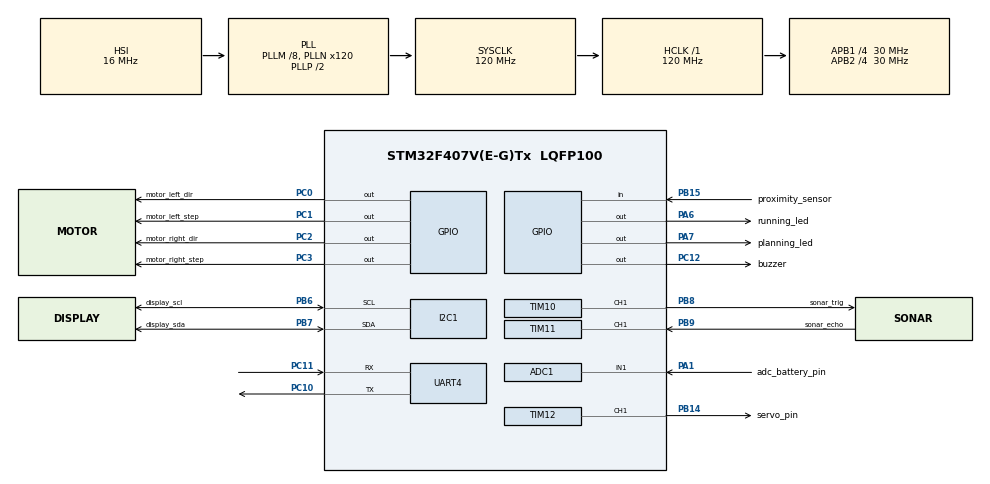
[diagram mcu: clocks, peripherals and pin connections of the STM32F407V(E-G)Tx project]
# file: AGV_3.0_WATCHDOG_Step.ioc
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ADC1.Channel-0\#ChannelRegularConversion=ADC_CHANNEL_1
ADC1.NbrOfConversionFlag=1
ADC1.Rank-0\#ChannelRegularConversion=1
ADC1.SamplingTime-0\#ChannelRegularConversion=ADC_SAMPLETIME_3CYCLES
ADC1.master=1
FREERTOS.BinarySemaphores01=parseCommandSem,Dynamic,NULL
FREERTOS.MEMORY_ALLOCATION=2
FREERTOS.Tasks01=mainTask,0,128,StartMainTask,Default,NULL,Dynamic,NULL,NULL;parseCommand,-1,128,StartParseCommand,Default,NULL,Dynamic,NULL,NULL;checkSafety,0,128,StartCheckSafety,Default,NULL,Dynamic,NULL,NULL;checkBattery,-1,128,StartCheckbattery,Default,NULL,Dynamic,NULL,NULL
Mcu.Family=STM32F4
Mcu.Name=STM32F407V(E-G)Tx
Mcu.Package=LQFP100
NVIC.PriorityGroup=NVIC_PRIORITYGROUP_4
NVIC.TIM1_TRG_COM_TIM11_IRQn=true\:5\:0\:false\:false\:true\:true\:true\:true
NVIC.TIM8_TRG_COM_TIM14_IRQn=true\:15\:0\:false\:false\:true\:false\:false\:true
NVIC.TimeBase=TIM8_TRG_COM_TIM14_IRQn
NVIC.TimeBaseIP=TIM14
NVIC.UART4_IRQn=true\:5\:0\:false\:false\:true\:true\:true\:true
PA1.GPIO_Label=adc_battery_pin
PA1.GPIO_PuPd=GPIO_NOPULL
PA1.Signal=ADCx_IN1
PA13.Mode=Serial_Wire
PA13.Signal=SYS_JTMS-SWDIO
PA14.Mode=Serial_Wire
PA14.Signal=SYS_JTCK-SWCLK
PA6.GPIO_Label=running_led
PA6.GPIO_PuPd=GPIO_PULLDOWN
PA6.Signal=GPIO_Output
PA7.GPIO_Label=planning_led
PA7.GPIO_PuPd=GPIO_PULLDOWN
PA7.Signal=GPIO_Output
PB14.GPIO_Label=servo_pin
PB14.GPIO_PuPd=GPIO_PULLDOWN
PB14.GPIO_Speed=GPIO_SPEED_FREQ_MEDIUM
PB14.Signal=S_TIM12_CH1
PB15.GPIO_Label=proximity_sensor
PB15.GPIO_PuPd=GPIO_PULLDOWN
PB15.Signal=GPIO_Input
PB6.GPIO_Label=display_scl
PB6.GPIO_Pu=GPIO_PULLUP
PB6.Mode=I2C
PB6.Signal=I2C1_SCL
PB7.GPIO_Label=display_sda
PB7.GPIO_Pu=GPIO_PULLUP
PB7.Mode=I2C
PB7.Signal=I2C1_SDA
PB8.GPIO_Label=sonar_trig
PB8.GPIO_PuPd=GPIO_PULLDOWN
PB8.GPIO_Speed=GPIO_SPEED_FREQ_HIGH
PB8.Signal=S_TIM10_CH1
PB9.GPIO_Label=sonar_echo
PB9.GPIO_PuPd=GPIO_PULLDOWN
PB9.GPIO_Speed=GPIO_SPEED_FREQ_HIGH
PB9.Signal=S_TIM11_CH1
PC0.GPIO_Label=motor_left_dir
PC0.GPIO_PuPd=GPIO_PULLDOWN
PC0.GPIO_Speed=GPIO_SPEED_FREQ_MEDIUM
PC0.Signal=GPIO_Output
PC1.GPIO_Label=motor_left_step
PC1.GPIO_PuPd=GPIO_PULLDOWN
PC1.GPIO_Speed=GPIO_SPEED_FREQ_VERY_HIGH
PC1.Signal=GPIO_Output
PC10.GPIO_PuPd=GPIO_NOPULL
PC10.Mode=Asynchronous
PC10.Signal=UART4_TX
PC11.GPIO_PuPd=GPIO_NOPULL
PC11.Mode=Asynchronous
PC11.Signal=UART4_RX
PC12.GPIO_Label=buzzer
PC12.GPIO_PuPd=GPIO_PULLDOWN
PC12.Signal=GPIO_Output
PC2.GPIO_Label=motor_right_dir
PC2.GPIO_PuPd=GPIO_PULLDOWN
PC2.GPIO_Speed=GPIO_SPEED_FREQ_MEDIUM
PC2.Signal=GPIO_Output
PC3.GPIO_Label=motor_right_step
PC3.GPIO_PuPd=GPIO_PULLDOWN
PC3.GPIO_Speed=GPIO_SPEED_FREQ_VERY_HIGH
PC3.Signal=GPIO_Output
PH0-OSC_IN.Mode=HSE-External-Oscillator
PH0-OSC_IN.Signal=RCC_OSC_IN
PH1-OSC_OUT.Mode=HSE-External-Oscillator
PH1-OSC_OUT.Signal=RCC_OSC_OUT
ProjectManager.HeapSize=0x200
ProjectManager.StackSize=0x400
ProjectManager.TargetToolchain=STM32CubeIDE
RCC.48MHZClocksFreq_Value=60000000
RCC.AHBFreq_Value=120000000
RCC.APB1CLKDivider=RCC_HCLK_DIV4
RCC.APB1Freq_Value=30000000
RCC.APB1TimFreq_Value=60000000
RCC.APB2CLKDivider=RCC_HCLK_DIV4
RCC.APB2Freq_Value=30000000
RCC.APB2TimFreq_Value=60000000
RCC.CortexFreq_Value=120000000
RCC.HCLKFreq_Value=120000000
RCC.HSE_VALUE=8000000
RCC.HSI_VALUE=16000000
RCC.LSE_VALUE=32768
RCC.PLLM=8
RCC.PLLN=120
RCC.RCC_RTC_Clock_Source=RCC_RTCCLKSOURCE_LSI
RCC.RCC_RTC_Clock_SourceVirtual=RCC_RTCCLKSOURCE_LSI
RCC.SYSCLKFreq_VALUE=120000000
RCC.SYSCLKSource=RCC_SYSCLKSOURCE_PLLCLK
RCC.VCOOutputFreq_Value=240000000
SH.ADCx_IN1.0=ADC1_IN1,IN1
SH.S_TIM10_CH1.0=TIM10_CH1,PWM Generation1 CH1
SH.S_TIM11_CH1.0=TIM11_CH1,Input_Capture1_from_TI1
SH.S_TIM12_CH1.0=TIM12_CH1,PWM Generation1 CH1
TIM10.Channel=TIM_CHANNEL_1
TIM10.Period=60 - 1
TIM10.Prescaler=1 - 1
TIM11.Channel=TIM_CHANNEL_1
TIM11.Period=0xffff - 1
TIM11.Prescaler=60 - 1
TIM12.Channel-PWM\ Generation1\ CH1=TIM_CHANNEL_1
UART4.VirtualMode=Asynchronous
VP_FREERTOS_VS_CMSIS_V1.Mode=CMSIS_V1
VP_IWDG_VS_IWDG.Mode=IWDG_Activate
VP_SYS_VS_tim14.Mode=TIM14
VP_TIM10_VS_ClockSourceINT.Mode=Enable_Timer
VP_TIM11_VS_ClockSourceINT.Mode=Enable_Timer
VP_TIM12_VS_ClockSourceINT.Mode=Internal
board=custom

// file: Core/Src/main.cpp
/* USER CODE BEGIN Header */
/**
  ******************************************************************************
  * @file           : main.c
  * @brief          : Main program body
  ******************************************************************************
  * @attention
  *
  * <h2><center>&copy; Copyright (c) 2021 STMicroelectronics.
  * All rights reserved.</center></h2>
  *
  * This software component is licensed by ST under BSD 3-Clause license,
  * the "License"; You may not use this file except in compliance with the
  * License. You may obtain a copy of the License at:
  *                        opensource.org/licenses/BSD-3-Clause
  *
  ******************************************************************************
  */
/* USER CODE END Header */
#include "main.h"
#include "cmsis_os.h"

/* USER CODE BEGIN Includes */
#include <vector>
#include "parseDataCommand.h"
#include "dataStruct.h"
#include "settings.h"
#include "motorDriver.h"
//#include "servoDriver.h"
/* USER CODE END Includes */

ADC_HandleTypeDef hadc1;

I2C_HandleTypeDef hi2c1;

IWDG_HandleTypeDef hiwdg;

TIM_HandleTypeDef htim10;
TIM_HandleTypeDef htim11;
extern TIM_HandleTypeDef htim12;

UART_HandleTypeDef huart4;

osThreadId mainTaskHandle;
osThreadId parseCommandHandle;
osThreadId checkSafetyHandle;
osThreadId checkBatteryHandle;
osSemaphoreId parseCommandSemHandle;
/* USER CODE BEGIN PV */
std::vector<char> data;
std::vector<DataStruct> parsedData;
int direcmoveDistance = 0;
uint32_t sonarIcVal1 = 0;
uint32_t sonarIcVal2 = 0;
volatile int sonarDistance = 0;
bool sonarFirstCapture = false;
/* USER CODE END PV */

void SystemClock_Config(void);
static void MX_GPIO_Init(void);
static void MX_IWDG_Init(void);
static void MX_TIM10_Init(void);
static void MX_TIM11_Init(void);
static void MX_UART4_Init(void);
static void MX_ADC1_Init(void);
static void MX_I2C1_Init(void);
static void MX_TIM12_Init(void);
void StartMainTask(void const * argument);
void StartParseCommand(void const * argument);
void StartCheckSafety(void const * argument);
void StartCheckbattery(void const * argument);

/* USER CODE BEGIN 0 */
char recievedData[1];
void HAL_UART_RxCpltCallback(UART_HandleTypeDef *huart)
{
	if(huart->Instance == UART4){
		if(recievedData[0] != '\n') {
			data.push_back(recievedData[0]);
		} else {
			osSemaphoreRelease(parseCommandSemHandle);
		}
	}
	HAL_UART_Receive_IT(&huart4, (uint8_t*)recievedData, 1);
}

void checkObstacleSonar() {
	// Start PWM
	HAL_TIM_PWM_Start(&htim10, TIM_CHANNEL_1);
	__HAL_TIM_SET_COMPARE(&htim10, TIM_CHANNEL_1, 30);
	// Reset val
	sonarFirstCapture  = false;
	sonarIcVal1 = 0;
	sonarIcVal2 = 0;
	sonarDistance = 10000;
	// Enable IC IT
	__HAL_TIM_ENABLE_IT(&htim11, TIM_IT_CC1);
	__HAL_TIM_SET_CAPTUREPOLARITY(&htim11, TIM_CHANNEL_1, TIM_INPUTCHANNELPOLARITY_RISING);
}

void HAL_TIM_IC_CaptureCallback(TIM_HandleTypeDef *htim)
{
	if (htim->Channel == HAL_TIM_ACTIVE_CHANNEL_1)  // if the interrupt source is channel1
	{
		if (!sonarFirstCapture) // if the first value is not captured
		{
			sonarIcVal1 = HAL_TIM_ReadCapturedValue(htim, TIM_CHANNEL_1); // read the first value
			sonarFirstCapture = true;  // set the first captured as true
			// Now change the polarity to falling edge
			__HAL_TIM_SET_CAPTUREPOLARITY(htim, TIM_CHANNEL_1, TIM_INPUTCHANNELPOLARITY_FALLING);
		}

		else if (sonarFirstCapture)   // if the first is already captured
		{
			sonarIcVal2 = HAL_TIM_ReadCapturedValue(htim, TIM_CHANNEL_1);  // read second value
			__HAL_TIM_SET_COUNTER(htim, 0);  // reset the counter

			uint32_t Difference = 0;
			if (sonarIcVal2 > sonarIcVal1)
			{
				Difference = sonarIcVal2-sonarIcVal1;
			}

			else if (sonarIcVal1 > sonarIcVal2)
			{
				Difference = (0xffff - sonarIcVal1) + sonarIcVal2;
			}

			// s = v * t = 340 * 1000 * t = (340 * 1000 * difference) / 10^6
			sonarDistance = double(Difference * .034/2);
			sonarFirstCapture = false; // set it back to false

			// set polarity to rising edge
			__HAL_TIM_SET_CAPTUREPOLARITY(htim, TIM_CHANNEL_1, TIM_INPUTCHANNELPOLARITY_RISING);
			__HAL_TIM_DISABLE_IT(&htim11, TIM_IT_CC1);
		}
	}
}
/* USER CODE END 0 */

int main(void)
{

  /* MCU Configuration--------------------------------------------------------*/

  /* Reset of all peripherals, Initializes the Flash interface and the Systick. */
  HAL_Init();

  /* Configure the system clock */
  SystemClock_Config();

  /* Initialize all configured peripherals */
  MX_GPIO_Init();
  MX_IWDG_Init();
  MX_TIM10_Init();
  MX_TIM11_Init();
  MX_UART4_Init();
  MX_ADC1_Init();
  MX_I2C1_Init();
  MX_TIM12_Init();

  /* Create the semaphores(s) */
  /* definition and creation of parseCommandSem */
  osSemaphoreDef(parseCommandSem);
  parseCommandSemHandle = osSemaphoreCreate(osSemaphore(parseCommandSem), 1);

  /* Create the thread(s) */
  /* definition and creation of mainTask */
  osThreadDef(mainTask, StartMainTask, osPriorityNormal, 0, 128);
  mainTaskHandle = osThreadCreate(osThread(mainTask), NULL);

  /* definition and creation of parseCommand */
  osThreadDef(parseCommand, StartParseCommand, osPriorityBelowNormal, 0, 128);
  parseCommandHandle = osThreadCreate(osThread(parseCommand), NULL);

  /* definition and creation of checkSafety */
  osThreadDef(checkSafety, StartCheckSafety, osPriorityNormal, 0, 128);
  checkSafetyHandle = osThreadCreate(osThread(checkSafety), NULL);

  /* definition and creation of checkBattery */
  osThreadDef(checkBattery, StartCheckbattery, osPriorityBelowNormal, 0, 128);
  checkBatteryHandle = osThreadCreate(osThread(checkBattery), NULL);

  /* Start scheduler */
  osKernelStart();

  /* We should never get here as control is now taken by the scheduler */
  /* Infinite loop */
  while (1)
  {

  }
}

void SystemClock_Config(void)
{
  RCC_OscInitTypeDef RCC_OscInitStruct = {0};
  RCC_ClkInitTypeDef RCC_ClkInitStruct = {0};

  /** Configure the main internal regulator output voltage
  */
  __HAL_RCC_PWR_CLK_ENABLE();
  __HAL_PWR_VOLTAGESCALING_CONFIG(PWR_REGULATOR_VOLTAGE_SCALE1);
  /** Initializes the RCC Oscillators according to the specified parameters
  * in the RCC_OscInitTypeDef structure.
  */
  RCC_OscInitStruct.OscillatorType = RCC_OSCILLATORTYPE_HSI|RCC_OSCILLATORTYPE_LSI
                              |RCC_OSCILLATORTYPE_HSE;
  RCC_OscInitStruct.HSEState = RCC_HSE_ON;
  RCC_OscInitStruct.HSIState = RCC_HSI_ON;
  RCC_OscInitStruct.HSICalibrationValue = RCC_HSICALIBRATION_DEFAULT;
  RCC_OscInitStruct.LSIState = RCC_LSI_ON;
  RCC_OscInitStruct.PLL.PLLState = RCC_PLL_ON;
  RCC_OscInitStruct.PLL.PLLSource = RCC_PLLSOURCE_HSI;
  RCC_OscInitStruct.PLL.PLLM = 8;
  RCC_OscInitStruct.PLL.PLLN = 120;
  RCC_OscInitStruct.PLL.PLLP = RCC_PLLP_DIV2;
  RCC_OscInitStruct.PLL.PLLQ = 4;
  if (HAL_RCC_OscConfig(&RCC_OscInitStruct) != HAL_OK)
  {
    Error_Handler();
  }
  /** Initializes the CPU, AHB and APB buses clocks
  */
  RCC_ClkInitStruct.ClockType = RCC_CLOCKTYPE_HCLK|RCC_CLOCKTYPE_SYSCLK
                              |RCC_CLOCKTYPE_PCLK1|RCC_CLOCKTYPE_PCLK2;
  RCC_ClkInitStruct.SYSCLKSource = RCC_SYSCLKSOURCE_PLLCLK;
  RCC_ClkInitStruct.AHBCLKDivider = RCC_SYSCLK_DIV1;
  RCC_ClkInitStruct.APB1CLKDivider = RCC_HCLK_DIV4;
  RCC_ClkInitStruct.APB2CLKDivider = RCC_HCLK_DIV4;

  if (HAL_RCC_ClockConfig(&RCC_ClkInitStruct, FLASH_LATENCY_3) != HAL_OK)
  {
    Error_Handler();
  }
}

static void MX_ADC1_Init(void)
{

  ADC_ChannelConfTypeDef sConfig = {0};

  /** Configure the global features of the ADC (Clock, Resolution, Data Alignment and number of conversion)
  */
  hadc1.Instance = ADC1;
  hadc1.Init.ClockPrescaler = ADC_CLOCK_SYNC_PCLK_DIV2;
  hadc1.Init.Resolution = ADC_RESOLUTION_12B;
  hadc1.Init.ScanConvMode = DISABLE;
  hadc1.Init.ContinuousConvMode = DISABLE;
  hadc1.Init.DiscontinuousConvMode = DISABLE;
  hadc1.Init.ExternalTrigConvEdge = ADC_EXTERNALTRIGCONVEDGE_NONE;
  hadc1.Init.ExternalTrigConv = ADC_SOFTWARE_START;
  hadc1.Init.DataAlign = ADC_DATAALIGN_RIGHT;
  hadc1.Init.NbrOfConversion = 1;
  hadc1.Init.DMAContinuousRequests = DISABLE;
  hadc1.Init.EOCSelection = ADC_EOC_SINGLE_CONV;
  if (HAL_ADC_Init(&hadc1) != HAL_OK)
  {
    Error_Handler();
  }
  /** Configure for the selected ADC regular channel its corresponding rank in the sequencer and its sample time.
  */
  sConfig.Channel = ADC_CHANNEL_1;
  sConfig.Rank = 1;
  sConfig.SamplingTime = ADC_SAMPLETIME_3CYCLES;
  if (HAL_ADC_ConfigChannel(&hadc1, &sConfig) != HAL_OK)
  {
    Error_Handler();
  }

}

static void MX_I2C1_Init(void)
{

  hi2c1.Instance = I2C1;
  hi2c1.Init.ClockSpeed = 100000;
  hi2c1.Init.DutyCycle = I2C_DUTYCYCLE_2;
  hi2c1.Init.OwnAddress1 = 0;
  hi2c1.Init.AddressingMode = I2C_ADDRESSINGMODE_7BIT;
  hi2c1.Init.DualAddressMode = I2C_DUALADDRESS_DISABLE;
  hi2c1.Init.OwnAddress2 = 0;
  hi2c1.Init.GeneralCallMode = I2C_GENERALCALL_DISABLE;
  hi2c1.Init.NoStretchMode = I2C_NOSTRETCH_DISABLE;
  if (HAL_I2C_Init(&hi2c1) != HAL_OK)
  {
    Error_Handler();
  }

}

static void MX_IWDG_Init(void)
{

  hiwdg.Instance = IWDG;
  hiwdg.Init.Prescaler = IWDG_PRESCALER_32;
  hiwdg.Init.Reload = 4095;
  if (HAL_IWDG_Init(&hiwdg) != HAL_OK)
  {
    Error_Handler();
  }

}

static void MX_TIM10_Init(void)
{

  TIM_OC_InitTypeDef sConfigOC = {0};

  htim10.Instance = TIM10;
  htim10.Init.Prescaler = 1 - 1;
  htim10.Init.CounterMode = TIM_COUNTERMODE_UP;
  htim10.Init.Period = 60 - 1;
  htim10.Init.ClockDivision = TIM_CLOCKDIVISION_DIV1;
  htim10.Init.AutoReloadPreload = TIM_AUTORELOAD_PRELOAD_DISABLE;
  if (HAL_TIM_Base_Init(&htim10) != HAL_OK)
  {
    Error_Handler();
  }
  if (HAL_TIM_PWM_Init(&htim10) != HAL_OK)
  {
    Error_Handler();
  }
  sConfigOC.OCMode = TIM_OCMODE_PWM1;
  sConfigOC.Pulse = 0;
  sConfigOC.OCPolarity = TIM_OCPOLARITY_HIGH;
  sConfigOC.OCFastMode = TIM_OCFAST_DISABLE;
  if (HAL_TIM_PWM_ConfigChannel(&htim10, &sConfigOC, TIM_CHANNEL_1) != HAL_OK)
  {
    Error_Handler();
  }
  HAL_TIM_MspPostInit(&htim10);

}

static void MX_TIM11_Init(void)
{

  TIM_IC_InitTypeDef sConfigIC = {0};

  htim11.Instance = TIM11;
  htim11.Init.Prescaler = 60 - 1;
  htim11.Init.CounterMode = TIM_COUNTERMODE_UP;
  htim11.Init.Period = 0xffff - 1;
  htim11.Init.ClockDivision = TIM_CLOCKDIVISION_DIV1;
  htim11.Init.AutoReloadPreload = TIM_AUTORELOAD_PRELOAD_DISABLE;
  if (HAL_TIM_Base_Init(&htim11) != HAL_OK)
  {
    Error_Handler();
  }
  if (HAL_TIM_IC_Init(&htim11) != HAL_OK)
  {
    Error_Handler();
  }
  sConfigIC.ICPolarity = TIM_INPUTCHANNELPOLARITY_RISING;
  sConfigIC.ICSelection = TIM_ICSELECTION_DIRECTTI;
  sConfigIC.ICPrescaler = TIM_ICPSC_DIV1;
  sConfigIC.ICFilter = 0;
  if (HAL_TIM_IC_ConfigChannel(&htim11, &sConfigIC, TIM_CHANNEL_1) != HAL_OK)
  {
    Error_Handler();
  }

}

static void MX_TIM12_Init(void)
{

  TIM_ClockConfigTypeDef sClockSourceConfig = {0};
  TIM_OC_InitTypeDef sConfigOC = {0};

  htim12.Instance = TIM12;
  htim12.Init.Prescaler = 0;
  htim12.Init.CounterMode = TIM_COUNTERMODE_UP;
  htim12.Init.Period = 65535;
  htim12.Init.ClockDivision = TIM_CLOCKDIVISION_DIV1;
  htim12.Init.AutoReloadPreload = TIM_AUTORELOAD_PRELOAD_DISABLE;
  if (HAL_TIM_Base_Init(&htim12) != HAL_OK)
  {
    Error_Handler();
  }
  sClockSourceConfig.ClockSource = TIM_CLOCKSOURCE_INTERNAL;
  if (HAL_TIM_ConfigClockSource(&htim12, &sClockSourceConfig) != HAL_OK)
  {
    Error_Handler();
  }
  if (HAL_TIM_PWM_Init(&htim12) != HAL_OK)
  {
    Error_Handler();
  }
  sConfigOC.OCMode = TIM_OCMODE_PWM1;
  sConfigOC.Pulse = 0;
  sConfigOC.OCPolarity = TIM_OCPOLARITY_HIGH;
  sConfigOC.OCFastMode = TIM_OCFAST_DISABLE;
  if (HAL_TIM_PWM_ConfigChannel(&htim12, &sConfigOC, TIM_CHANNEL_1) != HAL_OK)
  {
    Error_Handler();
  }
  HAL_TIM_MspPostInit(&htim12);

}

static void MX_UART4_Init(void)
{

  huart4.Instance = UART4;
  huart4.Init.BaudRate = BAUD_RATE;
  huart4.Init.WordLength = UART_WORDLENGTH_8B;
  huart4.Init.StopBits = UART_STOPBITS_1;
  huart4.Init.Parity = UART_PARITY_NONE;
  huart4.Init.Mode = UART_MODE_TX_RX;
  huart4.Init.HwFlowCtl = UART_HWCONTROL_NONE;
  huart4.Init.OverSampling = UART_OVERSAMPLING_16;
  if (HAL_UART_Init(&huart4) != HAL_OK)
  {
    Error_Handler();
  }

}

static void MX_GPIO_Init(void)
{
  GPIO_InitTypeDef GPIO_InitStruct = {0};

  /* GPIO Ports Clock Enable */
  __HAL_RCC_GPIOH_CLK_ENABLE();
  __HAL_RCC_GPIOC_CLK_ENABLE();
  __HAL_RCC_GPIOA_CLK_ENABLE();
  __HAL_RCC_GPIOB_CLK_ENABLE();

  /*Configure GPIO pin Output Level */
  HAL_GPIO_WritePin(GPIOC, motor_left_dir_Pin|motor_left_step_Pin|motor_right_dir_Pin|motor_right_step_Pin
                          |buzzer_Pin, GPIO_PIN_RESET);

  /*Configure GPIO pin Output Level */
  HAL_GPIO_WritePin(GPIOA, running_led_Pin|planning_led_Pin, GPIO_PIN_RESET);

  /*Configure GPIO pins : motor_left_dir_Pin motor_right_dir_Pin */
  GPIO_InitStruct.Pin = motor_left_dir_Pin|motor_right_dir_Pin;
  GPIO_InitStruct.Mode = GPIO_MODE_OUTPUT_PP;
  GPIO_InitStruct.Pull = GPIO_PULLDOWN;
  GPIO_InitStruct.Speed = GPIO_SPEED_FREQ_MEDIUM;
  HAL_GPIO_Init(GPIOC, &GPIO_InitStruct);

  /*Configure GPIO pins : motor_left_step_Pin motor_right_step_Pin */
  GPIO_InitStruct.Pin = motor_left_step_Pin|motor_right_step_Pin;
  GPIO_InitStruct.Mode = GPIO_MODE_OUTPUT_PP;
  GPIO_InitStruct.Pull = GPIO_PULLDOWN;
  GPIO_InitStruct.Speed = GPIO_SPEED_FREQ_VERY_HIGH;
  HAL_GPIO_Init(GPIOC, &GPIO_InitStruct);

  /*Configure GPIO pins : running_led_Pin planning_led_Pin */
  GPIO_InitStruct.Pin = running_led_Pin|planning_led_Pin;
  GPIO_InitStruct.Mode = GPIO_MODE_OUTPUT_PP;
  GPIO_InitStruct.Pull = GPIO_PULLDOWN;
  GPIO_InitStruct.Speed = GPIO_SPEED_FREQ_LOW;
  HAL_GPIO_Init(GPIOA, &GPIO_InitStruct);

  /*Configure GPIO pin : proximity_sensor_Pin */
  GPIO_InitStruct.Pin = proximity_sensor_Pin;
  GPIO_InitStruct.Mode = GPIO_MODE_INPUT;
  GPIO_InitStruct.Pull = GPIO_PULLDOWN;
  HAL_GPIO_Init(proximity_sensor_GPIO_Port, &GPIO_InitStruct);

  /*Configure GPIO pin : buzzer_Pin */
  GPIO_InitStruct.Pin = buzzer_Pin;
  GPIO_InitStruct.Mode = GPIO_MODE_OUTPUT_PP;
  GPIO_InitStruct.Pull = GPIO_PULLDOWN;
  GPIO_InitStruct.Speed = GPIO_SPEED_FREQ_LOW;
  HAL_GPIO_Init(buzzer_GPIO_Port, &GPIO_InitStruct);
}

void StartMainTask(void const * argument)
{
  /* USER CODE BEGIN 5 */
	HAL_IWDG_Init(&hiwdg);
	int buzzerStartTimes = 6;
	while(--buzzerStartTimes){
		HAL_GPIO_TogglePin(buzzer_GPIO_Port, buzzer_Pin);
		osDelay(100);
	}
	HAL_GPIO_WritePin(buzzer_GPIO_Port, buzzer_Pin, GPIO_PIN_RESET);
	HAL_UART_Receive_IT(&huart4, (uint8_t*)recievedData, 1);
  /* Infinite loop */
	for(;;)
	{
		// Refresh watch dog timer
		HAL_IWDG_Refresh(&hiwdg);
		// Check if new received command is not empty and merge to current command
		if(parsedData.size() == 0) {
			HAL_GPIO_TogglePin(running_led_GPIO_Port, running_led_Pin);
			osDelay(200);
			continue;
		}

		bool isOnLongDirectMove = false;
		while(parsedData.size() != 0) {
		  DataStruct currentCommand = *parsedData.begin();
		  // Erase current data
		  parsedData.erase(parsedData.begin());

		  int act = currentCommand.action;
		  switch(act) {
		  case 1:
			  // direct move
			  if(!isOnLongDirectMove) {
				  if(currentCommand.distance >= 2 || direcmoveDistance != 0) {
					  stepDirectMove( (currentCommand.distance - 1) * DIRECT_MOVE_STEP );
					  isOnLongDirectMove = true;
				  }
				  else if(currentCommand.distance == 1) {
					  stepDirectMove( DIRECT_MOVE_STEP );
					  isOnLongDirectMove = false;
				  }
			  }
			  else if(currentCommand.distance == 1) {
				  stepDirectMove( DIRECT_MOVE_STEP );
				  isOnLongDirectMove = false;
			  }
			  direcmoveDistance = currentCommand.distance - 1;
			  break;
		  case 2:
			  // Rotate 90
			  turnRight();
			  break;
		  case 3:
			  // Rotate -90
			  turnLeft();
			  break;
		  case 4:
			  // Rotate 180
			  turnBack();
			  break;
		  case 5:
			  // Stop
			  osDelay(500);
			  break;
		  case 6:
			  // Lift up
			  osDelay(500);
//			  liftUp();
			  osDelay(500);
			  break;
		  case 7:
			  // Lift down
			  osDelay(500);
//			  liftDown();
			  osDelay(500);
			  break;
		  case 8:
			  // Power ON
			  // Reset the micro processor
//			  HAL_NVIC_SystemReset();
			  // TODO: Not sure if below code will be hit
			  // TODO: Power On
			  break;
		  case 9:
			  // Power OFF
			  // TODO: Power OFF
			  break;
		  case 10:
			  // Reset
			  // TODO: Reset
			  HAL_NVIC_SystemReset();
			  break;
		  case 11:
			  // Move backward
			  moveBack();
			  break;
		  default:
			  HAL_GPIO_WritePin(buzzer_GPIO_Port, buzzer_Pin, GPIO_PIN_SET);
			  osDelay(100);
			  HAL_GPIO_WritePin(buzzer_GPIO_Port, buzzer_Pin, GPIO_PIN_RESET);
			  break;
		  }
		  HAL_GPIO_TogglePin(running_led_GPIO_Port, running_led_Pin);
		  HAL_GPIO_WritePin(buzzer_GPIO_Port, buzzer_Pin, GPIO_PIN_SET);
		  osDelay(50);
		  HAL_GPIO_WritePin(buzzer_GPIO_Port, buzzer_Pin, GPIO_PIN_RESET);
		}

		parsedData.clear();
	}
  /* USER CODE END 5 */
}

void StartParseCommand(void const * argument)
{
  /* USER CODE BEGIN StartParseDataTask */
  /* Infinite loop */
	for(;;)
	  {
		osSemaphoreWait(parseCommandSemHandle, osWaitForever);

		// Refresh watch dog timer
		HAL_IWDG_Refresh(&hiwdg);

		// Check raw received data
		if(data.size() == 0) {
			continue;
		}

		// Create a temp parsed data and check
		std::vector<DataStruct> parsedNewTempData = parseData(data);
		// Clear old raw data
		data.clear();

		parsedData.insert( parsedData.end(), parsedNewTempData.begin(), parsedNewTempData.end() );

		parsedNewTempData.clear();

		int i = 6;
		while(i--) {
		  HAL_GPIO_TogglePin(planning_led_GPIO_Port, planning_led_Pin);
		  HAL_GPIO_TogglePin(buzzer_GPIO_Port, buzzer_Pin);
		  osDelay(30);
		}

		HAL_GPIO_WritePin(buzzer_GPIO_Port, buzzer_Pin, GPIO_PIN_RESET);
	  }
  /* USER CODE END StartParseDataTask */
}

void StartCheckSafety(void const * argument)
{
  /* USER CODE BEGIN StartCheckSafety */
  // Start IC IT
  HAL_TIM_IC_Start_IT(&htim11, TIM_CHANNEL_1);
  /* Infinite loop */
  for(;;)
  {
//	checkObstacleSonar();
	osDelay(300);
	bool hasObstacle = false;
	hasObstacle = HAL_GPIO_ReadPin(proximity_sensor_GPIO_Port, proximity_sensor_Pin);
	if(!hasObstacle || sonarDistance < SAFETY_DISTANCE) {
		osThreadSuspend(mainTaskHandle);
		HAL_GPIO_WritePin(buzzer_GPIO_Port, buzzer_Pin, GPIO_PIN_SET);
		osDelay(2000);
		HAL_GPIO_WritePin(buzzer_GPIO_Port, buzzer_Pin, GPIO_PIN_RESET);
	} else {
		osThreadResume(mainTaskHandle);
	}
  }
  /* USER CODE END StartCheckSafety */
}

void StartCheckbattery(void const * argument)
{
  /* USER CODE BEGIN StartCheckbattery */
  /* Infinite loop */
  for(;;)
  {
    osDelay(1000);
  }
  /* USER CODE END StartCheckbattery */
}

void HAL_TIM_PeriodElapsedCallback(TIM_HandleTypeDef *htim)
{
  if (htim->Instance == TIM14) {
    HAL_IncTick();
  }
}

void Error_Handler(void)
{
  __disable_irq();
  while (1)
  {
  }
}

/************************ (C) COPYRIGHT STMicroelectronics *****END OF FILE****/
